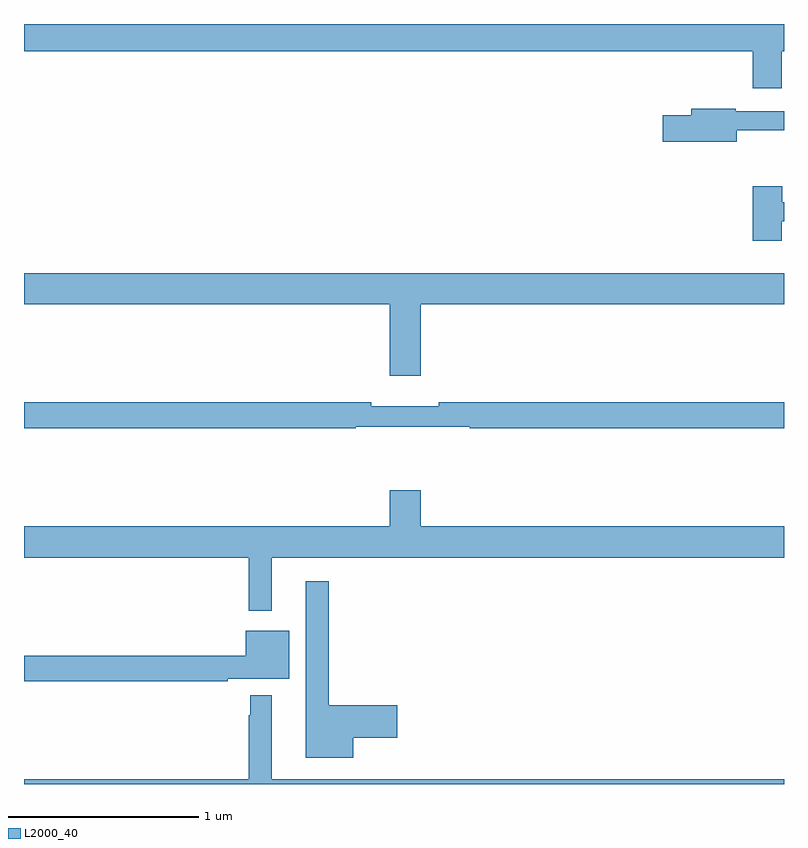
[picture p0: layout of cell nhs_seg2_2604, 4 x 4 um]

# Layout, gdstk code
import gdstk
lib = gdstk.Library(unit=1e-6, precision=1e-09)
def P(c, l, *ps):  # polygons
    for p in ps: c.add(gdstk.Polygon(p, *l))
L2000_40 = (2000, 40)

nhs_seg2_2604 = lib.new_cell('nhs_seg2_2604')
P(nhs_seg2_2604, L2000_40, [(250.987,627.656),(251,627.656),(251,627.8),(247,627.8),(247,627.656),(250.835,627.656),(250.835,627.462),(250.987,627.462)],
  [(250.75,627.241),(251,627.241),(251,627.342),(250.746,627.342),(250.746,627.355),(250.511,627.355),(250.511,627.321),(250.362,627.321),(250.362,627.179),(250.75,627.179)],
  [(250.987,626.763),(251,626.763),(251,626.863),(250.99,626.863),(250.99,626.947),(250.835,626.947),(250.835,626.658),(250.987,626.658)],
  [(249.088,626.324),(251,626.324),(251,626.488),(247,626.488),(247,626.324),(248.924,626.324),(248.924,625.95),(249.088,625.95)],
  [(248.745,625.68),(249.345,625.68),(249.345,625.672),(251,625.672),(251,625.808),(249.184,625.808),(249.184,625.789),(248.828,625.789),(248.828,625.808),(247,625.808),(247,625.672),(248.745,625.672)],
  [(248.305,624.992),(251,624.992),(251,625.156),(249.088,625.156),(249.088,625.345),(248.924,625.345),(248.924,625.156),(247,625.156),(247,624.992),(248.184,624.992),(248.184,624.711),(248.305,624.711)],
  [(248.734,624.044),(248.965,624.044),(248.965,624.215),(248.605,624.215),(248.605,624.868),(248.483,624.868),(248.483,623.939),(248.734,623.939)],
  [(248.072,624.353),(248.395,624.353),(248.395,624.607),(248.168,624.607),(248.168,624.476),(247,624.476),(247,624.34),(248.072,624.34)],
  [(251,623.824),(248.305,623.824),(248.305,624.268),(248.19,624.268),(248.19,624.161),(248.184,624.161),(248.184,623.824),(247,623.824),(247,623.8),(251,623.8)])

lib.write_gds('nhs_seg2_2604.gds')
